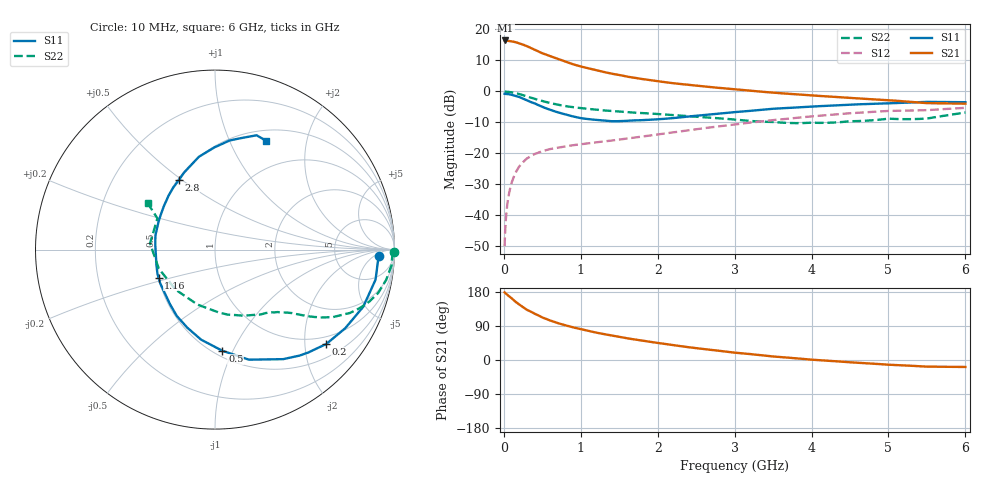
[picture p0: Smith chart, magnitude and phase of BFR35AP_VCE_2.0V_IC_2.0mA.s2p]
! Infineon Technologies  Discrete & RF Semiconductors
! BFR35AP
! VCE =  2.0 V,  IC =  2.0 mA
! Common Emitter S-Parameters:  Nov 2015
# GHz  S  MA  R  50
!  f  S11  S21  S12  S22
! GHz  MAG  ANG  MAG  ANG  MAG  ANG  MAG  ANG
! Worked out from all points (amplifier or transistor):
!   210 points, 10 MHz to 6 GHz, reference 50 ohm
!   highest |S21| = 16.4 dB at 20 MHz (marker M1)
!   |S21| within 3 dB of that: start of sweep to 402.9 MHz
!   unconditionally stable (mu >= 1): 1.144 GHz to 4.437 GHz; 4.654 GHz to 4.902 GHz; 5.028 GHz to end of sweep
!   at 185 MHz: K = 0.22, MSG = 20.2 dB, |S12| = -24.8 dB
!   at 1.52 GHz: K = 1.15, MAG = 8.0 dB, |S12| = -15.5 dB
!   at 6 GHz: K = 1.02, MAG = -0.3 dB, |S12| = -5.3 dB
!   S11 on the Smith chart (normalised r, x): 10 MHz: 19, -8; 200 MHz: 0.81, -2.50; 500 MHz: 0.55, -0.91; 1.16 GHz: 0.50, -0.18; 2.8 GHz: 0.51, +0.49; 6 GHz: 0.63, +1.38
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0.01  0.9156 -2.2  6.558 178.5  0.0032 89.0  0.9979 -0.9
0.02  0.91 -4.2  6.625 176.3  0.0066 86.0  0.9885 -2.0
0.045  0.9093 -9.5  6.574 172.1  0.015 82.8  0.9874 -4.6
0.08  0.8916 -16.8  6.476 166.4  0.0267 78.9  0.9754 -8.0
0.15  0.8476 -31.1  6.253 153.8  0.0482 71.9  0.9411 -14.8
0.2  0.813 -40.3  5.953 146.5  0.0616 66.9  0.9075 -18.6
0.24  0.7738 -47.8  5.725 140.6  0.0704 62.9  0.8764 -21.4
0.3  0.7189 -58.1  5.367 132.4  0.083 59.0  0.83 -25.2
0.4  0.6416 -72.9  4.709 122.2  0.0977 52.9  0.7582 -29.7
0.5  0.5654 -85.8  4.123 112.3  0.1087 48.5  0.6989 -32.8
0.6  0.5076 -98.8  3.716 104.4  0.1175 45.6  0.6509 -35.0
0.7  0.461 -109.7  3.351 97.5  0.1236 43.8  0.6111 -36.8
0.8  0.4265 -120.0  3.012 91.5  0.1301 42.6  0.5796 -38.3
1.02  0.3678 -140.6  2.486 80.4  0.1417 41.4  0.5347 -41.1
1.16  0.351 -153.6  2.256 74.1  0.1489 41.3  0.5131 -43.0
1.6  0.3357 173.0  1.734 57.3  0.1735 43.0  0.462 -49.3
2.02  0.3569 148.9  1.449 44.5  0.2041 43.8  0.4303 -57.3
2.8  0.4373 117.4  1.139 24.2  0.2737 41.9  0.3696 -78.7
3.1  0.4738 109.1  1.054 17.6  0.3041 39.6  0.3427 -89.9
4.1  0.5778 88.5  0.846 -0.4  0.405 29.0  0.3109 -140.1
5.1  0.649 74.7  0.707 -13.3  0.4865 14.8  0.3591 170.0
6  0.6698 64.7  0.634 -18.4  0.5437 4.1  0.4562 145.4
